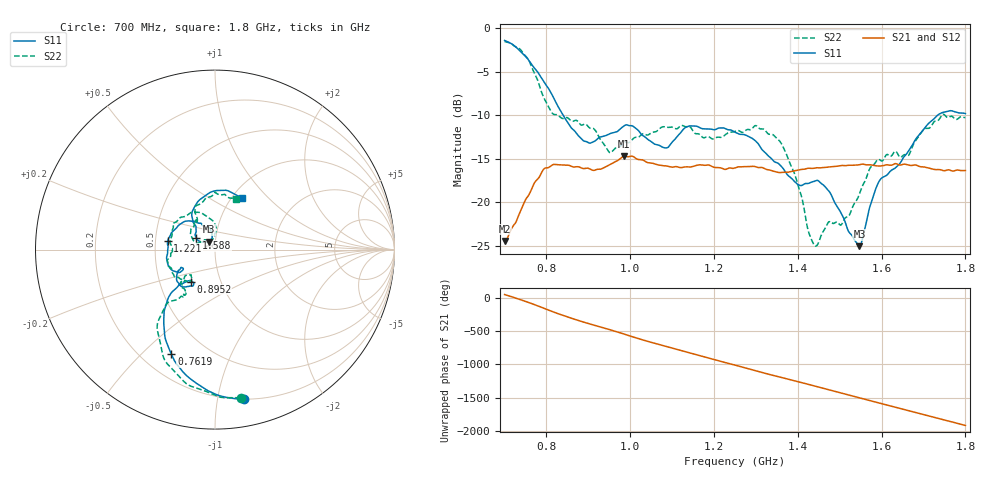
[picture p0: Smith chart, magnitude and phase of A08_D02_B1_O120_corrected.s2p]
! Created with skrf 1.9.0 (http://scikit-rf.org).
# Hz S RI R 50.0
!freq ReS11 ImS11 ReS21 ImS21 ReS12 ImS12 ReS22 ImS22
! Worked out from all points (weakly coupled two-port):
!   1601 points, 700 MHz to 1.8 GHz, reference 50 ohm
!   highest |S21| = -14.68 dB at 985.3 MHz (marker M1); lowest = -24.4 dB at 701.4 MHz (marker M2)
!   lowest |S11| = -25.0 dB at 1.547 GHz (marker M3), VSWR 1.12, Z = 46.6 + j4.21 ohm
!   |S11| at or under -10 dB: 839.8 MHz to 1.733 GHz (893.7 MHz wide, 69.5 % of centre)
!   |S22| runs from -25.0 to -1.5 dB; largest |S21 - S12| = 0.0035
!   S11 on the Smith chart (normalised r, x): 700 MHz: 0.20, -1.19; 761.9 MHz: 0.32, -0.62; 895.2 MHz: 0.72, -0.27; 1.221 GHz: 0.58, +0.06; 1.588 GHz: 0.80, +0.11; 1.8 GHz: 1.11, +0.71
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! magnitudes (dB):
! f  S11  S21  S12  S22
! 700 MHz  -1.4  -24.4  -24.2  -1.5
! 701.4 MHz  -1.4  -24.4  -24.0  -1.6
! 761.9 MHz  -4.0  -18.7  -18.7  -4.1
! 812.8 MHz  -7.6  -15.7  -15.7  -9.7
! 883.6 MHz  -12.7  -16.1  -15.9  -11.1
! 895.2 MHz  -13.0  -16.1  -16.2  -11.1
! 950.9 MHz  -12.1  -15.7  -15.7  -14.3
! 985.3 MHz  -11.2  -14.7  -14.8  -13.1
! 1.067 GHz  -13.4  -15.7  -15.6  -11.7
! 1.221 GHz  -11.4  -16.1  -16.2  -12.4
! 1.25 GHz  -11.9  -16.1  -16.0  -11.8
! 1.359 GHz  -15.8  -16.6  -16.5  -13.1
! 1.394 GHz  -17.7  -16.4  -16.3  -17.0
! 1.434 GHz  -17.7  -16.1  -16.1  -24.4
! 1.473 GHz  -18.6  -15.9  -16.0  -22.3
! 1.504 GHz  -21.3  -15.8  -15.8  -22.5
! 1.547 GHz  -25.0  -15.7  -15.7  -19.0
! 1.588 GHz  -18.2  -15.8  -15.8  -15.2
! 1.617 GHz  -16.6  -15.7  -15.7  -14.6
! 1.663 GHz  -14.2  -15.7  -15.7  -14.6
! 1.735 GHz  -9.9  -16.2  -16.3  -10.6
! 1.8 GHz  -9.8  -16.3  -16.3  -10.3
